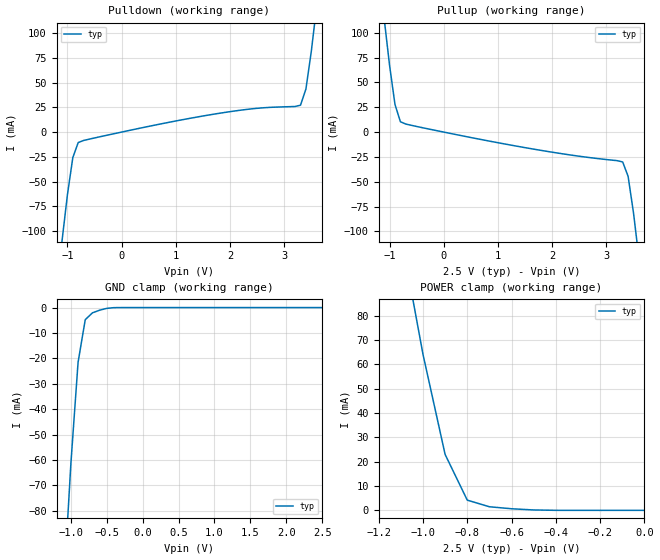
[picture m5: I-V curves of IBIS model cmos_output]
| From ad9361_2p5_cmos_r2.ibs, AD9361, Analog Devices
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[MODEL] cmos_output
Model_type   Output
Polarity   Non-Inverting
Cref  =   3.000pF
Rref  =   10kOhm
Vref  =   2.5V
Vmeas =   2.3V
|   typ   min   max
C_comp   3.000pF   NA   NA
[Voltage Range]   2.50V   NA   NA
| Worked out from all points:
|   slope of the pulldown table from 0 to 0.375 V, typ, clamps not added: 86.2 ohm
|   slope of the pullup table from 0 to 0.375 V, typ, clamps not added: 91.1 ohm
|   GND clamp passes 1 mA (typ) near -0.60 V on its own axis
|   POWER clamp passes 1 mA (typ) near -0.64 V on its own axis
[GND Clamp]
| Voltage  I(typ)   I(min)  I(max)
-2.5V     -896.9mA   NA         NA
-1.1V     -110.2mA   NA         NA
-1V       -61.38mA   NA         NA
-900mV    -21.55mA   NA         NA
-800mV    -4.757mA   NA         NA
-700mV    -2.081mA   NA         NA
-500mV    -309.3uA   NA         NA
-400mV    -32.46uA   NA         NA
2.5V      150pA      NA         NA
[POWER Clamp]
| Voltage  I(typ)   I(min)  I(max)
-2.5V     902.2mA    NA         NA
-1.1V     113.4mA    NA         NA
-1V       64.07mA    NA         NA
-900mV    22.95mA    NA         NA
-800mV    4.199mA    NA         NA
-700mV    1.478mA    NA         NA
-600mV    656.2uA    NA         NA
-400mV    15.82uA    NA         NA
0V        150pA      NA         NA
[Pulldown]
| Voltage  I(typ)   I(min)  I(max)
-2.5V     -860.7mA   NA         NA
-1.1V     -110.4mA   NA         NA
-1V       -63.72mA   NA         NA
-900mV    -25.81mA   NA         NA
-800mV    -10.55mA   NA         NA
1.6V      17.16mA    NA         NA
2.4V      23.45mA    NA         NA
3.3V      27.12mA    NA         NA
3.4V      43.47mA    NA         NA
3.5V      81.75mA    NA         NA
3.6V      127.9mA    NA         NA
5V        868.8mA    NA         NA
[Pullup]
| Voltage  I(typ)   I(min)  I(max)
-2.5V     866.2mA    NA         NA
-1.1V     114.4mA    NA         NA
-900mV    27.83mA    NA         NA
-800mV    10.41mA    NA         NA
-700mV    8.075mA    NA         NA
-400mV    4.486mA    NA         NA
1.3V      -13.71mA   NA         NA
3.3V      -30.07mA   NA         NA
3.4V      -44.47mA   NA         NA
3.5V      -81.48mA   NA         NA
3.6V      -127.2mA   NA         NA
5V        -866.4mA   NA         NA
[Ramp]
|   typ   min   max
dV/dt_r   1.625V/.110ns   NA   NA
dV/dt_f   1.625V/.107ns   NA   NA
R_load=10k
|----------------------------end cmos_output model---------------
